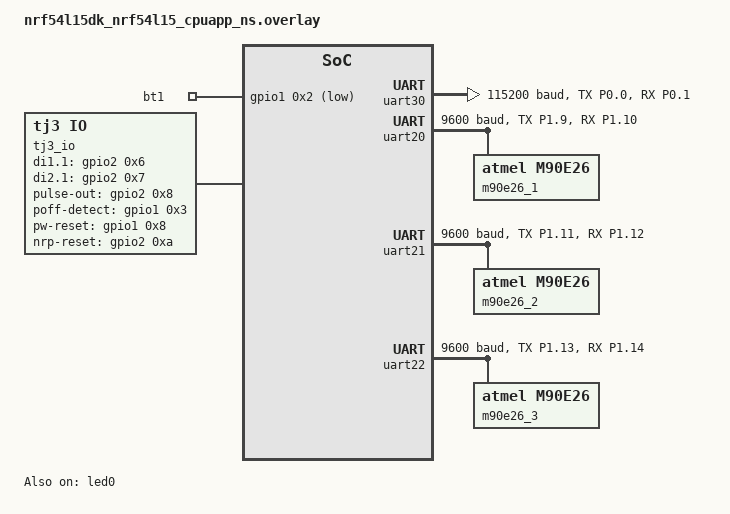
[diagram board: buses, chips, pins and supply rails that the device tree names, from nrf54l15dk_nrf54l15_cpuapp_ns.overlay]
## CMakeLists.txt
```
cmake_minimum_required(VERSION 3.20.0)
find_package(Zephyr REQUIRED HINTS $ENV{ZEPHYR_BASE})

project(TJ3FW)

add_subdirectory(drivers/sensor/atm90e26)

target_include_directories(app PRIVATE inc)
target_sources(app PRIVATE 
    src/main.c
    src/led.c
    src/ble_gatt.c
    src/protocol.c
    src/spi_flash.c
    src/fs_handler.c
    src/ext_comm.c
    src/di.c
    src/button.c
    src/settings.c
    src/measure.c
    src/pulse.c
    src/poff_detect.c)
```

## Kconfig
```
rsource "drivers/sensor/atm90e26/Kconfig"

source "Kconfig.zephyr"
```

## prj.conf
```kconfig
# 基礎串口與中斷支援
CONFIG_SERIAL=y
CONFIG_UART_INTERRUPT_DRIVEN=y

# GPIO 支援
CONFIG_GPIO=y

# Console 設定 (Disable Standard Consoles to use Custom Protocol Log)
CONFIG_CONSOLE=y
CONFIG_UART_CONSOLE=n
CONFIG_RTT_CONSOLE=n
CONFIG_USE_SEGGER_RTT=n
CONFIG_LOG_BACKEND_RTT=n
CONFIG_LOG_BACKEND_UART=n

# 強制啟用 Log Output 模組 (因為停用了標準 Backend 但需要用 log_output API)
CONFIG_LOG_OUTPUT=y

# 啟用日誌系統 (非同步模式)
CONFIG_LOG=y
CONFIG_LOG_MODE_DEFERRED=y
CONFIG_LOG_PROCESS_THREAD_STARTUP_DELAY_MS=2000
CONFIG_LOG_PRINTK=y
# 設為 DEBUG(4) 可輸出 atm90e26 RAW DATA
CONFIG_LOG_DEFAULT_LEVEL=3
CONFIG_LOG_RUNTIME_FILTERING=y

CONFIG_BOOT_BANNER=n
CONFIG_NCS_BOOT_BANNER=n

# 啟用 Async UART (DMA)
CONFIG_UART_ASYNC_API=y
CONFIG_NRFX_UARTE=y

# 啟用 SPI FLASH & LITTLEFS 支援
CONFIG_SPI=y
CONFIG_SPI_NOR=y
CONFIG_FLASH=y
CONFIG_FLASH_MAP=y
CONFIG_FILE_SYSTEM=y
CONFIG_FILE_SYSTEM_LITTLEFS=y

# 指定 LittleFS 放在外部 Flash (需要 pm.yml 中有定義對應的 region)
CONFIG_PM_PARTITION_REGION_LITTLEFS_EXTERNAL=y
# 配置 LittleFS partition size，需小於或等於 pm.yml 中定義的 region 大小 
CONFIG_PM_PARTITION_SIZE_LITTLEFS=0x00600000
CONFIG_FILE_SYSTEM_MKFS=y


# 啟用 BLE 支援
CONFIG_BT=y
CONFIG_BT_PERIPHERAL=y
CONFIG_BT_DEVICE_NAME="TJ3-GW"

# BLE 廣播與連接參數配置 (提升桌面端掃描相容性)
CONFIG_BT_DEVICE_APPEARANCE=0
CONFIG_BT_MAX_CONN=1
CONFIG_BT_MAX_PAIRED=1

# 啟用 GAP 服務 (桌面端掃描常需要)
CONFIG_BT_GAP_PERIPHERAL_PREF_PARAMS=y

# 啟用必要的 BLE 功能
CONFIG_BT_GATT_DYNAMIC_DB=y
# 提升 ATT MTU 以支援 >20 byte 的單次 Write Request
# meter_config_t = 24 bytes；預設 MTU payload 20 bytes 會觸發 Long Write，
# macOS CoreBluetooth Long Write 不穩定，提升 MTU 可直接繞開此問題
CONFIG_BT_L2CAP_TX_MTU=247
CONFIG_BT_BUF_ACL_TX_SIZE=251
CONFIG_BT_BUF_ACL_RX_SIZE=251
# Long Write 仍保留作為備用
CONFIG_BT_ATT_PREPARE_COUNT=4
# 禁用 SMP 以避免過於嚴格的安全設置阻礙掃描
CONFIG_BT_SMP=n
CONFIG_BT_SETTINGS=n

# 設定發射功率 (nRF54L15 支援範圍 -40 ~ +8 dBm)
CONFIG_BT_CTLR_TX_PWR_PLUS_4=y

# Controller 廣播配置
CONFIG_BT_CTLR_ADV_DATA_LEN_MAX=191
CONFIG_BT_CTLR_SCAN_DATA_LEN_MAX=191

CONFIG_SENSOR=y
CONFIG_ATM90E26=y
CONFIG_SYS_CLOCK_TICKS_PER_SEC=1000

# 記憶體配置
CONFIG_HEAP_MEM_POOL_SIZE=8192
CONFIG_MAIN_STACK_SIZE=8192
CONFIG_SYSTEM_WORKQUEUE_STACK_SIZE=4096
# 增加 idle stack 大小
CONFIG_IDLE_STACK_SIZE=2048
# 增加 ISR stack 大小
CONFIG_ISR_STACK_SIZE=2048

# 浮點數支援 (用於 snprintf %f 格式化)
CONFIG_CBPRINTF_FP_SUPPORT=y
# 啟用數學庫支援 (sinf, cosf 等函數) - 需要使用 newlib
CONFIG_NEWLIB_LIBC=y

# Debug 支援 (nRF Connect debugger 需要)
CONFIG_DEBUG_OPTIMIZATIONS=y
CONFIG_DEBUG_THREAD_INFO=y
CONFIG_NEWLIB_LIBC_FLOAT_PRINTF=y
```

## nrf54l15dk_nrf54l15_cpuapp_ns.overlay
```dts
// To get started, press Ctrl+Space (or Option+Esc) to bring up the completion menu and view the available nodes.

// You can also use the buttons in the sidebar to perform actions on nodes.
// Actions currently available include:

// * Enabling / disabling the node
// * Adding the bus to a bus
// * Removing the node
// * Connecting ADC channels

// For more help, browse the DeviceTree documentation at https: //docs.zephyrproject.org/latest/guides/dts/index.html
// You can also visit the nRF DeviceTree extension documentation at https: //docs.nordicsemi.com/bundle/nrf-connect-vscode/page/guides/ncs_configure_app.html#devicetree-support-in-the-extension

#include <zephyr/dt-bindings/gpio/gpio.h>
#include <zephyr/dt-bindings/pwm/pwm.h>

&led0 {
    status = "okay";
};

&led1 {
    status = "disabled";
};
&led2 {
    status = "disabled";
};
&led3 {
    status = "disabled";
};

&button0 {
    status = "disabled";
};

&button1 {
    status = "disabled";
};

&button2 {
    status = "disabled";
};

&button3 {
    status = "disabled";
};

&pwm20 {
    status = "disabled";
};

&spi00 {
    status = "disabled";
};

&pinctrl {
    // pwm20_default: pwm20_default {
        //     group1 {
            //         /* 將 PWM 通道 0 (PWM_OUT0) 映射到 P2.09 ( led0 )*/
            //         /* 格式：NRF_PSEL(訊號類型, 埠號, 引腳號) */
            //         psels = <NRF_PSEL(PWM_OUT0, 2, 0x9)>;
            //         nordic,drive-mode = <NRF_DRIVE_H0H1>;
        //     };
    // };
    // pwm20_sleep: pwm20_sleep {
        //     group1 {
            //         psels = <NRF_PSEL(PWM_OUT0, 2, 0x9)>;
            //         low-power-enable;
        //     };
    // };

    // /* UART_DEBUG(Console, VCOM0, UART0)): TX=P0.00, RX=P0.01 */

    // uart00_default: uart00_default {
        //     group1 {
            //         /* TX=P1.09 */
            //         psels = <NRF_PSEL(UART_TX, 1, 9)>;
        //     };

        //     group2 {
            //         /* RX=P1.10 */
            //         psels = <NRF_PSEL(UART_RX, 1, 10)>;
            //         bias-pull-up;
        //     };
    // };
    // uart00_sleep: uart00_sleep {
        //     group1 {
            //         psels = <NRF_PSEL(UART_TX, 1, 9)>,
                               //                 <NRF_PSEL(UART_RX, 1, 10)>;
            //         low-power-enable;
        //     };
    // };


    /* UART_NRP(nRF9151, VCOM1, UART1): TX=P1.05, RX=P1.04 */
    uart30_default: uart30_default {
        group1 {
            psels = <NRF_PSEL(UART_TX, 0, 0)>;
        };

        group2 {
            psels = <NRF_PSEL(UART_RX, 0, 1)>;
            bias-pull-up;
        };
    };
    uart30_sleep: uart30_sleep {
        group1 {
            psels = <NRF_PSEL(UART_TX, 0, 0)>,
                    <NRF_PSEL(UART_RX, 0, 1)>;
            low-power-enable;
        };
    };



    /* UART_AT1(ATM90#1): P1.09, P1.10 */
    uart20_default: uart20_default {
        group1 {
            psels = <NRF_PSEL(UART_TX, 1, 9)>;
        };

        group2 {
            psels = <NRF_PSEL(UART_RX, 1, 10)>;
            bias-pull-up;
        };
    };
    uart20_sleep: uart20_sleep {
        group1 {
            psels = <NRF_PSEL(UART_TX, 1, 9)>,
                    <NRF_PSEL(UART_RX, 1, 10)>;
            low-power-enable;
        };
    };

    /* UART_AT2(ATM90#2): P1.11, P1.12 */
    uart21_default: uart21_default {
        group1 {
            /* TX=P1.11 */
            psels = <NRF_PSEL(UART_TX, 1, 11)>;
        };

        group2 {
            /* RX=P1.12 */
            psels = <NRF_PSEL(UART_RX, 1, 12)>;
            bias-pull-up;
        };
    };
    uart21_sleep: uart21_sleep {
        group1 {
            psels = <NRF_PSEL(UART_TX, 1, 11)>,
                    <NRF_PSEL(UART_RX, 1, 12)>;
            low-power-enable;
        };
    };

    /* UART_AT3(ATM90#3): P1.13, P1.14 */
    uart22_default: uart22_default {
        group1 {
            /* TX=P1.13 */
            psels = <NRF_PSEL(UART_TX, 1, 13)>;
        };

        group2 {
            /* RX=P1.14 */
            psels = <NRF_PSEL(UART_RX, 1, 14)>;
            bias-pull-up;
        };
    };
    uart22_sleep: uart22_sleep {
        group1 {
            psels = <NRF_PSEL(UART_TX, 1, 13)>,
                    <NRF_PSEL(UART_RX, 1, 14)>;
            low-power-enable;
        };
    };

    /* SPI20
     * - SCK        = P2.01
     * - SIO0(MOSI) = P2.02
     * - SIO1(MISO) = P2.04
     * - SIO2       = P2.03
     * - SIO3       = P2.00
     * - CS         = P2.05
     */
    // spi20_default: spi20_default {
        //     group1 {
            //         psels = <NRF_PSEL(SPIM_SCK, 2, 1)>,
                               //                 <NRF_PSEL(SPIM_MOSI, 2, 2)>,
                               //                 <NRF_PSEL(SPIM_MISO, 2, 4)>;
        //     };
    // };
    // spi20_sleep: spi20_sleep {
        //     group1 {
            //         psels = <NRF_PSEL(SPIM_SCK, 2, 1)>,
                               //                 <NRF_PSEL(SPIM_MOSI, 2, 2)>,
                               //                 <NRF_PSEL(SPIM_MISO, 2, 4)>;
            //         low-power-enable;
        //     };
    // };
};

// &pwm20 {
    //     status = "okay";
    //     pinctrl-0 = <&pwm20_default>;
    //     pinctrl-1 = <&pwm20_sleep>;
    //     pinctrl-names = "default", "sleep";
// };

&uart00 {
    status = "disabled";
    // current-speed = <9600>;
    // pinctrl-0 = <&uart00_default>;
    // pinctrl-1 = <&uart00_sleep>;
    // pinctrl-names = "default", "sleep";

    // m90e26_1: m90e26_1 {
        //     compatible = "atmel,m90e26";
        //     status = "okay";
    // };
};

&uart30 {
    status = "okay";
    current-speed = <115200>;
    pinctrl-0 = <&uart30_default>;
    pinctrl-1 = <&uart30_sleep>;
    pinctrl-names = "default", "sleep";
};
&uart20 {
    status = "okay";
    current-speed = <9600>;
    pinctrl-0 = <&uart20_default>;
    pinctrl-1 = <&uart20_sleep>;
    pinctrl-names = "default", "sleep";

    m90e26_1: m90e26_1 {
        compatible = "atmel,m90e26";
        status = "okay";
    };
};

&uart21 {
    status = "okay";
    current-speed = <9600>;
    pinctrl-0 = <&uart21_default>;
    pinctrl-1 = <&uart21_sleep>;
    pinctrl-names = "default", "sleep";

    m90e26_2: m90e26_2 {
        compatible = "atmel,m90e26";
        status = "okay";
    };
};

&uart22 {
    status = "okay";
    current-speed = <9600>;
    pinctrl-0 = <&uart22_default>;
    pinctrl-1 = <&uart22_sleep>;
    pinctrl-names = "default", "sleep";

    m90e26_3: m90e26_3 {
        compatible = "atmel,m90e26";
        status = "okay";
    };
};

/{
    buttons {
        compatible = "gpio-keys";
        #address-cells = <1>;
        #size-cells = <0>;

        bt1: bt1 {
            status = "okay";
            gpios = <&gpio1 0x2 (GPIO_PULL_UP | GPIO_ACTIVE_LOW)>;
        };
    };

    // /* PWM 輸出到 pwm20 的 P2.09 */
    // pwmleds {
        //     compatible = "pwm-leds";

        //     pwm_led1: pwm_led_1 {
            //         status = "okay";
            //         /* 使用 pwm20 的通道 0，週期 20ms */
            //         pwms = <&pwm20 0x0 0x01312d00 GPIO_ACTIVE_LOW>;
        //     };
    // };

    tj3_io: tj3_io {
        compatible = "tj3,io";

        di1.1-gpios = <&gpio2 0x6 (GPIO_PULL_UP | GPIO_ACTIVE_HIGH)>;
        di2.1-gpios = <&gpio2 0x7 (GPIO_PULL_UP | GPIO_ACTIVE_HIGH)>;

        pulse-out-gpios = <&gpio2 0x8 (GPIO_ACTIVE_HIGH)>;
        poff-detect-gpios = <&gpio1 0x3 (GPIO_PULL_UP|GPIO_ACTIVE_HIGH)>;
        pw-reset-gpios = <&gpio1 0x8 (GPIO_ACTIVE_HIGH)>;
        nrp-reset-gpios = <&gpio2 0xa (GPIO_ACTIVE_HIGH)>;
    };

    chosen {
        zephyr,console = &uart30;
        zephyr,shell-uart = &uart30;
        zephyr,uart-mcumgr = &uart30;
        // nordic,pm-ext-flash = &ext_flash0;
    };

    aliases {
        uart-nrp   = &uart30; /* NRP log */

        uart-at1 = &uart20; /* ATM90_1 */
        uart-at2 = &uart21; /* ATM90_2 */
        uart-at3 = &uart22; /* ATM90_3 */

        atm90e26-1 = &m90e26_1;
        atm90e26-2 = &m90e26_2;
        atm90e26-3 = &m90e26_3;

        // spi-flash = &spi20;
    };
};
```

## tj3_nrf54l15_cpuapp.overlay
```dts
/ {
    /* 定義虛擬的 RTT 節點 */
    rtt0: rtt0 {
        compatible = "segger,rtt-uart";
    };

    chosen {
        /* 將所有關鍵輸出導向 RTT */
        zephyr,console = &rtt0;
        zephyr,shell-uart = &rtt0;
        zephyr,uart-mcumgr = &rtt0;
        zephyr,bt-mon-uart = &rtt0;
        zephyr,bt-c2h-uart = &rtt0;

        /* 告訴 pm 用 &mx25r64 做外部 flash */
        nordic,pm-ext-flash = &mx25r64;
    };

    /* ATM90E26 Sensors */
    atm1: atm90e26_1 {
        compatible = "atmel,atm90e26";
        uart = <&uart20>;
        status = "okay";
    };

    atm2: atm90e26_2 {
        compatible = "atmel,atm90e26";
        uart = <&uart21>;
        status = "okay";
    };

    atm3: atm90e26_3 {
        compatible = "atmel,atm90e26";
        uart = <&uart22>;
        status = "okay";
    };
};
```

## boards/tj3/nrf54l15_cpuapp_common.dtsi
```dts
/*
 * Copyright (c) 2024 Nordic Semiconductor ASA
 *
 * SPDX-License-Identifier: Apache-2.0
 */

/* This file is common to the secure and non-secure domain */

#include "tj3_common.dtsi"

/ {
	chosen {
		zephyr,console = &uart30;
		zephyr,shell-uart = &uart30;
		zephyr,uart-mcumgr = &uart30;
		zephyr,bt-mon-uart = &uart30;
		zephyr,bt-c2h-uart = &uart30;
		zephyr,flash-controller = &rram_controller;
		zephyr,flash = &cpuapp_rram;
		zephyr,ieee802154 = &ieee802154;
		zephyr,boot-mode = &boot_mode0;
	};
};

&cpuapp_sram {
	status = "okay";
};

&lfxo {
	load-capacitors = "external";
};

&hfxo {
	load-capacitors = "internal";
	load-capacitance-femtofarad = <15000>;
};

&regulators {
	status = "okay";
};

&vregmain {
	status = "okay";
	regulator-initial-mode = <NRF5X_REG_MODE_DCDC>;
};

&grtc {
	owned-channels = <0 1 2 3 4 5 6 7 8 9 10 11>;
	/* Channels 7-11 reserved for Zero Latency IRQs, 3-4 for FLPR */
	child-owned-channels = <3 4 7 8 9 10 11>;
	status = "okay";
};

&gpio0 {
	status = "okay";
};

&gpio1 {
	status = "okay";
};

&gpio2 {
	status = "okay";
};

&gpiote20 {
	status = "okay";
};

&gpiote30 {
	status = "okay";
};

&radio {
	status = "okay";
};

&ieee802154 {
	status = "okay";
};

&temp {
	status = "okay";
};

&clock {
	status = "okay";
};

&gpregret1 {
	status = "okay";

	boot_mode0: boot_mode@0 {
		compatible = "zephyr,retention";
		status = "okay";
		reg = <0x0 0x1>;
	};
};

&uicr {
	nfct-pins-as-gpios;
};
```

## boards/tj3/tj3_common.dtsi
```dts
/*
 * Copyright (c) 2024 Nordic Semiconductor ASA
 * SPDX-License-Identifier: Apache-2.0
 */

#include "tj3_nrf54l15-pinctrl.dtsi"


&uart20 {
	status = "okay";
	pinctrl-0 = <&uart20_default>;
	pinctrl-1 = <&uart20_sleep>;
	pinctrl-names = "default", "sleep";
	current-speed = <9600>;
};

&uart21 {
	status = "okay";
	pinctrl-0 = <&uart21_default>;
	pinctrl-1 = <&uart21_sleep>;
	pinctrl-names = "default", "sleep";
	current-speed = <9600>;
};

&uart22 {
	status = "okay";
	pinctrl-0 = <&uart22_default>;
	pinctrl-1 = <&uart22_sleep>;
	pinctrl-names = "default", "sleep";
	current-speed = <9600>;
};

&uart30 {
	status = "okay";
	pinctrl-0 = <&uart30_default>;
	pinctrl-1 = <&uart30_sleep>;
	pinctrl-names = "default", "sleep";
	current-speed = <115200>;
};

/ {
	gpio_input {
		compatible = "gpio-keys";
		di1: di1 {
			gpios = <&gpio2 6 GPIO_ACTIVE_HIGH>;
		};
		di2: di2 {
			gpios = <&gpio2 7 GPIO_ACTIVE_HIGH>;
		};
		pulse_out: pulse_out {
			gpios = <&gpio2 8 GPIO_ACTIVE_HIGH>;
		};
		poff_detect: poff_detect {
			gpios = <&gpio1 3 GPIO_ACTIVE_HIGH>;
		};
		btn: btn {
			gpios = <&gpio1 2 GPIO_ACTIVE_LOW>;
		};
	};

	gpio_output {
		compatible = "gpio-leds";
		pw_reset: pw_reset {
			gpios = <&gpio1 8 GPIO_ACTIVE_HIGH>;
		};
		nrp_reset: nrp_reset {
			gpios = <&gpio2 10 GPIO_ACTIVE_HIGH>;
		};
		led_ind: led_ind {
			gpios = <&gpio2 9 GPIO_ACTIVE_HIGH>;
		};
	};
};
```

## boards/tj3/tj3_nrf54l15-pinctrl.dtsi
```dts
/*
 * Copyright (c) 2024 Nordic Semiconductor ASA
 * SPDX-License-Identifier: Apache-2.0
 */

&pinctrl {


	/omit-if-no-ref/ spi00_default: spi00_default {
		group1 {
			psels = <NRF_PSEL(SPIM_SCK, 2, 1)>,
			        <NRF_PSEL(SPIM_MOSI, 2, 2)>,
			        <NRF_PSEL(SPIM_MISO, 2, 4)>;
		};
	};

	/omit-if-no-ref/ spi00_sleep: spi00_sleep {
		group1 {
			psels = <NRF_PSEL(SPIM_SCK, 2, 1)>,
			        <NRF_PSEL(SPIM_MOSI, 2, 2)>,
			        <NRF_PSEL(SPIM_MISO, 2, 4)>;
			low-power-enable;
		};
	};

	/omit-if-no-ref/ uart20_default: uart20_default {
		group1 {
			psels = <NRF_PSEL(UART_TX, 1, 9)>;
		};

		group2 {
			psels = <NRF_PSEL(UART_RX, 1, 10)>;
			bias-pull-up;
		};
	};

	/omit-if-no-ref/ uart20_sleep: uart20_sleep {
		group1 {
			psels = <NRF_PSEL(UART_TX, 1, 9)>,
					<NRF_PSEL(UART_RX, 1, 10)>;
			low-power-enable;
		};
	};

	/omit-if-no-ref/ uart21_default: uart21_default {
		group1 {
			psels = <NRF_PSEL(UART_TX, 1, 11)>;
		};

		group2 {
			psels = <NRF_PSEL(UART_RX, 1, 12)>;
			bias-pull-up;
		};
	};

	/omit-if-no-ref/ uart21_sleep: uart21_sleep {
		group1 {
			psels = <NRF_PSEL(UART_TX, 1, 11)>,
					<NRF_PSEL(UART_RX, 1, 12)>;
			low-power-enable;
		};
	};

	/omit-if-no-ref/ uart22_default: uart22_default {
		group1 {
			psels = <NRF_PSEL(UART_TX, 1, 13)>;
		};

		group2 {
			psels = <NRF_PSEL(UART_RX, 1, 14)>;
			bias-pull-up;
		};
	};

	/omit-if-no-ref/ uart22_sleep: uart22_sleep {
		group1 {
			psels = <NRF_PSEL(UART_TX, 1, 13)>,
					<NRF_PSEL(UART_RX, 1, 14)>;
			low-power-enable;
		};
	};

	/omit-if-no-ref/ uart30_default: uart30_default {
		group1 {
			psels = <NRF_PSEL(UART_TX, 0, 0)>;
		};

		group2 {
			psels = <NRF_PSEL(UART_RX, 0, 1)>;
			bias-pull-up;
		};
	};

	/omit-if-no-ref/ uart30_sleep: uart30_sleep {
		group1 {
			psels = <NRF_PSEL(UART_TX, 0, 0)>,
					<NRF_PSEL(UART_RX, 0, 1)>;
			low-power-enable;
		};
	};
};
```

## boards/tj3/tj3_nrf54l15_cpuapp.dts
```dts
/dts-v1/;

#include <nordic/nrf54l15_cpuapp.dtsi>
#include "nrf54l15_cpuapp_common.dtsi"

/ {
	compatible = "custom,tj3-nrf54l15-cpuapp";
	model = "nRF54L15 TJ3 Application MCU";

	chosen {
		zephyr,code-partition = &slot0_partition;
		zephyr,sram = &cpuapp_sram;
	};
};

/* Include default memory partition configuration file */
#include <nordic/nrf54l15_partition.dtsi>

&spi00 {
	status = "okay";
	cs-gpios = <&gpio2 5 GPIO_ACTIVE_LOW>;
	pinctrl-0 = <&spi00_default>;
	pinctrl-1 = <&spi00_sleep>;
	pinctrl-names = "default", "sleep";

	mx25r64: mx25r6435f@0 {
		compatible = "jedec,spi-nor";
		status = "okay";
		reg = <0>;
		spi-max-frequency = <8000000>;
		jedec-id = [ c2 28 17  ];
		sfdp-bfp = [ e5 20 f1 ff ff ff ff 03 44 eb 08 6b 08 3b 04 bb ee ff ff ff ff ff 00 ff ff ff 00 ff 0c 20 0f 52 10 d8 00 ff 23 72 f5 00 82 ed 04 cc 44 83 48 44 30 b0 30 b0 f7 c4 d5 5c 00 be 29 ff f0 d0 ff ff  ];
		size = <67108864>;
		has-dpd;
		t-enter-dpd = <10000>;
		t-exit-dpd = <35000>;
		reset-gpios = <&gpio2 0 GPIO_ACTIVE_LOW>;
	};
};
```

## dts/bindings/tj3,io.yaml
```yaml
# TJ3 board/application IO aggregator

description: |
  TJ3 IO pin definitions (GPIOs) used by the application.

compatible: "tj3,io"

properties:
  di1.1-gpios:
    type: phandle-array
    description: DI1.1 input GPIO
  di2.1-gpios:
    type: phandle-array
    description: DI2.1 input GPIO

  pulse-out-gpios:
    type: phandle-array
    description: Pulse output GPIO

  poff-detect-gpios:
    type: phandle-array
    description: Power-off detect GPIO

  pw-reset-gpios:
    type: phandle-array
    description: Power module reset GPIO

  nrp-reset-gpios:
    type: phandle-array
    description: NRP reset GPIO
```

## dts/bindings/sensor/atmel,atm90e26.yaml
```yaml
description: Atmel ATM90E26 Energy Metering IC

compatible: "atmel,atm90e26"

include: sensor-device.yaml

properties:
  uart:
    type: phandle
    required: true
    description: UART device used to communicate with the sensor
```

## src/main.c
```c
#include <zephyr/kernel.h>
#include <zephyr/drivers/sensor.h>
#include <zephyr/logging/log.h>
#include "led.h"
#include "ble_gatt.h"
#include "spi_flash.h"
#include "fs_handler.h"
#include "ext_comm.h"
#include "atm90e26.h"
#include "di.h"
#include "button.h" /* 加入按鈕模組 */
#include "settings.h"
#include "measure.h"
#include "pulse.h"
#include "poff_detect.h"

LOG_MODULE_REGISTER(main, LOG_LEVEL_INF);

#if 0 // 保留舊的單獨讀取方式作為參考
static void read_atm90e26(const struct device *dev, const char *name)
{
        struct sensor_value volt, curr, pwr, pwr_react, pwr_app, pf, freq, energy;

        if (!device_is_ready(dev))
        {
                LOG_ERR("Device %s is not ready", name);
                return;
        }

        if (sensor_sample_fetch(dev) < 0)
        {
                LOG_ERR("Failed to fetch sample from %s", name);
                return;
        }

        sensor_channel_get(dev, SENSOR_CHAN_VOLTAGE, &volt);
        sensor_channel_get(dev, SENSOR_CHAN_CURRENT, &curr);
        sensor_channel_get(dev, SENSOR_CHAN_POWER, &pwr);
        sensor_channel_get(dev, SENSOR_CHAN_ATM90E26_REACTIVE_POWER, &pwr_react);
        sensor_channel_get(dev, SENSOR_CHAN_ATM90E26_APPARENT_POWER, &pwr_app);
        sensor_channel_get(dev, SENSOR_CHAN_ATM90E26_POWER_FACTOR, &pf);
        sensor_channel_get(dev, SENSOR_CHAN_FREQUENCY, &freq);
        sensor_channel_get(dev, SENSOR_CHAN_ATM90E26_ENERGY, &energy);

        LOG_INF("[%s] V:%d.%02dV I:%d.%03dA P:%dW Q:%dVAr S:%dVA PF:%d.%03d Freq:%d.%02dHz E:%dWh",
                name,
                volt.val1, volt.val2 / 10000,
                curr.val1, curr.val2 / 1000,
                pwr.val1,
                pwr_react.val1,
                pwr_app.val1,
                pf.val1, pf.val2 / 1000,
                freq.val1, freq.val2 / 10000,
                energy.val1);
}
#endif

int main(void)
{
        int count = 0;
        int ret;

        led_init();
        ext_comm_init();

        /* 初始化 SPI Flash，並等待就緒 */
        ret = spi_flash_init();
        if (ret < 0)
        {
                LOG_ERR("SPI Flash init failed, continuing without flash storage");
        }
        k_sleep(K_MSEC(100)); /* 給 flash 時間穩定 */

        /* 初始化檔案系統 */
        ret = fs_handler_init();
        if (ret < 0)
        {
                LOG_ERR("Filesystem init failed: %d", ret);
        }

        /* 測試檔案系統（可選） */
        if (ret == 0)
        {
                fs_handler_test();
        }

        ble_gatt_init();
        di_init();

        /* 初始化設定按鈕 (安全機制) */
        ret = button_init();
        if (ret < 0)
        {
                LOG_ERR("Button init failed: %d", ret);
        }

        /* 初始化設定值、測電模組、脈衝監測模組、停電檢測 */
        settings_init();
        measure_init();
        pulse_init();
        poff_detect_init();

        while (1)
        {
                led_toggle();

                if (count % 5 == 0)
                {
                        /* 新的測電計算週期 */
                        measure_perform_cycle();

                        /* 發送 LOG 輸出 (假設為單相，使用脈衝計數) */
                        uint32_t pulse_count = pulse_get_count();
                        measure_send_log_output(PHASE_SINGLE, pulse_count);

                        /* 記錄電量資訊 */
                        LOG_INF("Pulse: count=%u, kWh=%.4f, Power=%.3f kW",
                                pulse_count,
                                (double)pulse_get_kwh(),
                                (double)pulse_get_current_power());
                }
                count++;

                k_sleep(K_SECONDS(1));
        }
        return 0;
}
```

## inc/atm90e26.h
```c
#ifndef ATM90E26_H
#define ATM90E26_H

#include <zephyr/device.h>

#ifdef __cplusplus
extern "C"
{
#endif

/* Status and Special Registers */
#define ATM90E26_REG_SOFTRESET 0x00
#define ATM90E26_REG_SYSSTATUS 0x01
#define ATM90E26_REG_FUNCEN 0x02
#define ATM90E26_REG_SAGTH 0x03
#define ATM90E26_REG_SMALLPMOD 0x04
#define ATM90E26_REG_LASTDATA 0x06
#define ATM90E26_REG_LSB 0x08

/* Metering Calibration & Configuration Registers */
#define ATM90E26_REG_CALSTART 0x20
#define ATM90E26_REG_PLCONSTH 0x21
#define ATM90E26_REG_PLCONSTL 0x22
#define ATM90E26_REG_LGAIN 0x23
#define ATM90E26_REG_LPHI 0x24
#define ATM90E26_REG_NGAIN 0x25
#define ATM90E26_REG_NPHI 0x26
#define ATM90E26_REG_PSTARTTH 0x27
#define ATM90E26_REG_PNOLTH 0x28
#define ATM90E26_REG_QSTARTTH 0x29
#define ATM90E26_REG_QNOLTH 0x2A
#define ATM90E26_REG_MMODE 0x2B
#define ATM90E26_REG_CS1 0x2C

/* Measurement Calibration Registers */
#define ATM90E26_REG_ADJSTART 0x30
#define ATM90E26_REG_UGAIN 0x31
#define ATM90E26_REG_IGAINL 0x32
#define ATM90E26_REG_IGAINN 0x33
#define ATM90E26_REG_UOFFSET 0x34
#define ATM90E26_REG_IOFFSETL 0x35
#define ATM90E26_REG_IOFFSETN 0x36
#define ATM90E26_REG_POFFSETL 0x37
#define ATM90E26_REG_QOFFSETL 0x38
#define ATM90E26_REG_POFFSETN 0x39
#define ATM90E26_REG_QOFFSETN 0x3A
#define ATM90E26_REG_CS2 0x3B

/* Energy & Measurement Registers */
#define ATM90E26_REG_APENERGY 0x40
#define ATM90E26_REG_ANENERGY 0x41
#define ATM90E26_REG_ATENERGY 0x42
#define ATM90E26_REG_RPENERGY 0x43
#define ATM90E26_REG_RNENERGY 0x44
#define ATM90E26_REG_RTENERGY 0x45
#define ATM90E26_REG_ENSTATUS 0x46
#define ATM90E26_REG_IRMS 0x48
#define ATM90E26_REG_URMS 0x49
#define ATM90E26_REG_PMEAN 0x4A
#define ATM90E26_REG_QMEAN 0x4B
#define ATM90E26_REG_FREQ 0x4C
#define ATM90E26_REG_POWERF 0x4D
#define ATM90E26_REG_PANGLE 0x4E
#define ATM90E26_REG_SMEAN 0x4F
#define ATM90E26_REG_IRMS2 0x68
#define ATM90E26_REG_PMEAN2 0x6A
#define ATM90E26_REG_QMEAN2 0x6B
#define ATM90E26_REG_POWERF2 0x6C
#define ATM90E26_REG_PANGLE2 0x6D
#define ATM90E26_REG_SMEAN2 0x6E

/* Constants */
#define ATM90E26_SOFT_RESET_CMD 0x789A
#define ATM90E26_CAL_START_CMD 0x5678
#define ATM90E26_CAL_CHECK_CMD 0x8765
#define ATM90E26_ADJ_START_CMD 0x5678
#define ATM90E26_ADJ_CHECK_CMD 0x8765

    /**
     * @brief Configuration structure for system calibration (Registgers 0x21 - 0x2B)
     *        1. 電表脈衝常數 (Energy Pulse Constant)
     *           pl_const_h (0x21), pl_const_l (0x22):
     *           決定了電能计量與脈衝輸出 (CF) 之間的關係。
     *           也就是設定 imp/kWh (每度電對應多少脈衝)。這個值需要根據您的分流器/互感器參數及目標脈衝常數計算得出。
     *        2. 線路校正參數 (Line Calibration)
     *           用於補償外部電路（如分流器、變壓器）的誤差：
     *           l_gain (0x23), n_gain (0x25): L線/N線 增益校正。用於微調測量到的電壓/電流幅度，確保數值準確。
     *           l_phi (0x24), n_phi (0x26): L線/N線 相位校正。用於補償電壓與電流採樣之間的相位延遲（通常由互感器引起），這對功率因數 (PF) 非 1.0 的負載測量非常重要。
     *        3. 測量閥值 (Measurement Thresholds)
     *           設定電表開始計量或忽略雜訊的界線：
     *           p_start_th (0x27), q_start_th (0x29): 有功/無功 啟動閥值。
     *           當測得的功率低於此值時，晶片不進行電能累積。這就是俗稱的「啟動電流」，確保極微小的待機負載是否計入。
     *           p_nol_th (0x28), q_nol_th (0x2A): 有功/無功 防潛動 (No-Load) 閥值。
     *           當僅有電壓而無電流（空載）時，若測得的微小功率低於此值，則強制歸零，防止電表在無負載時「偷跑」計數。
     *        4. 計量模式 (Metering Mode)
     *           m_mode (0x2B): 計量模式配置。
     *           這是最重要的控制暫存器之一。
     *           設定 頻率 (50Hz/60Hz)。
     *           設定 PGA 增益 (電流通道放大倍率)。
     *           設定 計量方式 (如：絕對值累加、僅正向累加、代數和等)。
     */
    typedef struct
    {
        uint16_t pl_const_h; /* 0x21 PLconstH*/
        uint16_t pl_const_l; /* 0x22 PLconstL */
        uint16_t l_gain;     /* 0x23 Lgain */
        uint16_t l_phi;      /* 0x24 Lphi */
        uint16_t n_gain;     /* 0x25 Ngain */
        uint16_t n_phi;      /* 0x26 Nphi */
        uint16_t p_start_th; /* 0x27 PStartTh */
        uint16_t p_nol_th;   /* 0x28 PNolTh */
        uint16_t q_start_th; /* 0x29 QStartTh */
        uint16_t q_nol_th;   /* 0x2A QNolTh */
        uint16_t m_mode;     /* 0x2B MMode */
    } atm90e26_sys_config_t;

    /**
     * @brief Initialize the ATM90E26 device
     *
     * This function performs the software reset and initializes the system calibration registers.
     *
     * @param dev Pointer to the UART device structure
     * @return 0 on success, negative error code on failure
     */
    int atm90e26_init(const struct device *dev);

    /**
     * @brief Calculate CS1 checksum
     *
     * @param config Pointer to the configuration structure
     * @return Calculated CS1 value
     */
    uint16_t atm90e26_calculate_cs1(const atm90e26_sys_config_t *config);

    int atm90e26_uart_read_reg(const struct device *dev, uint8_t addr, uint16_t *val);
    int atm90e26_uart_write_reg(const struct device *dev, uint8_t addr, uint16_t val);

#ifdef __cplusplus
}
#endif

#endif /* ATM90E26_H */
```

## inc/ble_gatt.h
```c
#ifndef BLE_GATT_H
#define BLE_GATT_H

#include <stdbool.h>
#include <stdint.h>

void ble_gatt_init(void);

/**
 * @brief Push a log string over BLE Log Stream characteristic (8c15, NOTIFY).
 * Safe to call from any context; no-op when not connected or notify disabled.
 */
void ble_gatt_log_stream_send(const uint8_t *data, uint16_t len);

/**
 * @brief 更新 Alarm Status 特徵值中的指定位元
 * @param bit_position 位元位置 (0-31)
 * @param value 位元值 (true=1, false=0)
 */
void ble_gatt_update_alarm_status(uint8_t bit_position, bool value);

#endif
```

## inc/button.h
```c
/**
 * @file button.h
 * @brief 設定模式按鈕 (S Button) 控制模組
 *
 * 實現 "S" 按鈕長按 3 秒的設定模式解鎖功能
 * 按鈕功能：
 * - 長按 3 秒：進入設定模式 (允許 BLE 修改設定)
 * - 自動超時：30 秒後自動退出設定模式
 */

#ifndef BUTTON_H_
#define BUTTON_H_

#include <zephyr/kernel.h>
#include <stdbool.h>

/**
 * @brief 初始化按鈕模組
 *
 * 配置 GPIO 和定時器
 *
 * @return 0 成功，負值為錯誤碼
 */
int button_init(void);

/**
 * @brief 檢查是否處於設定模式
 *
 * @return true 處於設定模式 (允許修改設定)
 * @return false 未處於設定模式 (拒絕修改設定)
 */
bool button_is_set_mode_enabled(void);

/**
 * @brief 手動進入設定模式 (用於測試)
 *
 * @param duration_sec 持續時間 (秒)，0 表示立即退出
 */
void button_enter_set_mode(uint16_t duration_sec);

/**
 * @brief 手動退出設定模式
 */
void button_exit_set_mode(void);

#endif /* BUTTON_H_ */
```

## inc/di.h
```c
/**
 * @file di.h
 * @brief Digital Input (DI1/DI2) Monitoring Header
 *
 * 根據開發式樣書實現接點輸入 (DI1/DI2) 的監測功能
 * - DI1: P2.06
 * - DI2: P2.07
 *
 * 功能包含：
 * 1. 接點狀態監測與判定時間延時
 * 2. MQTT 雲端通報 (AD 識別碼)
 * 3. Flash 數據記錄
 * 4. BLE 狀態更新
 */

#ifndef DI_H_
#define DI_H_

#include <zephyr/kernel.h>
#include <stdbool.h>
#include <stdint.h>

/**
 * @brief DI 通道編號
 */
typedef enum
{
    DI_CHANNEL_1 = 1, /**< DI1 通道 (P2.06) */
    DI_CHANNEL_2 = 2  /**< DI2 通道 (P2.07) */
} di_channel_t;

/**
 * @brief DI 狀態
 */
typedef enum
{
    DI_STATE_NORMAL = 0, /**< 正常狀態 (Low) */
    DI_STATE_ALERT = 1   /**< 警報狀態 (High) */
} di_state_t;

/**
 * @brief DI 配置參數
 */
typedef struct
{
    uint16_t on_time;  /**< 接點警報判定時間 (1-999秒) */
    uint16_t off_time; /**< 接點復歸判定時間 (1-999秒) */
} di_config_t;

/**
 * @brief 初始化 DI 監測模組
 *
 * 初始化 GPIO、工作隊列、定時器等
 *
 * @return 0 成功，負值為錯誤碼
 */
int di_init(void);

/**
 * @brief 獲取指定 DI 通道的當前狀態
 *
 * @param channel DI 通道編號
 * @return 當前狀態 (DI_STATE_NORMAL 或 DI_STATE_ALERT)
 */
di_state_t di_get_state(di_channel_t channel);

/**
 * @brief 設定指定 DI 通道的判定時間
 *
 * 透過 BLE GATT (OP Code 0xB5) 設定判定時間
 *
 * @param channel DI 通道編號
 * @param on_time 接點警報判定時間 (1-999秒)
 * @param off_time 接點復歸判定時間 (1-999秒)
 * @return 0 成功，負值為錯誤碼
 */
int di_set_config(di_channel_t channel, uint16_t on_time, uint16_t off_time);

/**
 * @brief 獲取指定 DI 通道的配置
 *
 * @param channel DI 通道編號
 * @param config 輸出配置參數
 * @return 0 成功，負值為錯誤碼
 */
int di_get_config(di_channel_t channel, di_config_t *config);

/**
 * @brief 將 DI 狀態保存到 Flash
 *
 * 在停電時被調用，優先保存 DI1 和 DI2 的當前狀態
 *
 * @return 0 成功，負值為錯誤碼
 */
int di_save_state_to_flash(void);

/**
 * @brief 從 Flash 載入 DI 狀態
 *
 * 在復電後被調用，恢復 DI1 和 DI2 的狀態
 *
 * @return 0 成功，負值為錯誤碼
 */
int di_load_state_from_flash(void);

#endif /* DI_H_ */
```

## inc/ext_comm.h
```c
#ifndef EXT_COMM_H
#define EXT_COMM_H

#ifdef __cplusplus
extern "C"
{
#endif

#include <stdbool.h>

    /**
     * @brief Initialize External Communication (Protocol over UART30).
     * @return 0 on success.
     */
    int ext_comm_init(void);

    /**
     * @brief Send formatted log message via UART30 protocol
     * @param log_msg 格式化的 LOG 訊息字串
     * @return 0 on success, negative on error
     */
    int ext_comm_send_log(const char *log_msg);

#ifdef __cplusplus
}
#endif

#endif
```

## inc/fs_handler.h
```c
#ifndef FS_HANDLER_H
#define FS_HANDLER_H

#include <zephyr/kernel.h>

/**
 * @brief Initialize the LittleFS File System
 * @return 0 on success, negative errno on failure
 */
int fs_handler_init(void);

/**
 * @brief Test File System (Create, Write, Read, Delete)
 * @return 0 on success
 */
int fs_handler_test(void);

/**
 * @brief Fast format (Quick format using fs_mkfs)
 * @return 0 on success
 */
int fs_handler_fast_format(void);

/**
 * @brief Low-level format (Erase & Remount)
 * @return 0 on success
 */
int fs_handler_low_level_format(void);

/**
 * @brief Append a line to a CSV file
 *
 * @param filename File name (e.g., "/lfs/log.csv")
 * @param line String content to append (should be null-terminated, function adds newline if needed)
 * @return 0 on success
 */
int fs_handler_append_log(const char *filename, const char *line);

/**
 * @brief List files in the root directory
 */
void fs_handler_ls(void);

#endif
```

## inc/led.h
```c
#ifndef LED_H
#define LED_H

#ifdef __cplusplus
extern "C"
{
#endif

#include <stdbool.h>

    /* LED 模式定義 */
    typedef enum
    {
        LED_PATTERN_NORMAL = 0,     /* 正常模式：1Hz 閃爍 */
        LED_PATTERN_FAST_BLINK = 1, /* 快速閃爍：5Hz (設定模式) */
        LED_PATTERN_SLOW_BLINK = 2, /* 慢速閃爍：0.5Hz */
        LED_PATTERN_ON = 3,         /* 常亮 */
        LED_PATTERN_OFF = 4         /* 常滅 */
    } led_pattern_t;

    void led_init(void);
    void led_on(void);
    void led_off(void);
    void led_toggle(void);
    void led_get_state(bool *is_on);

    /* 設定 LED 模式 */
    void led_set_pattern(led_pattern_t pattern);

#ifdef __cplusplus
}
#endif

#endif /* LED_H */
```

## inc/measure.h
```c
/**
 * @file measure.h
 * @brief TJ3 測電計算模組
 *
 * 實現 CH1-7 通道的電流、電壓、漏電等參數的計算
 * - 通道映射 (ATM1/2/3 → CH1-7)
 * - 增益補正計算
 * - 三相向量合成
 * - Ior 抵抗分漏電計算
 */

#ifndef MEASURE_H_
#define MEASURE_H_

#include <stdint.h>
#include <stdbool.h>
#include "settings.h"

/* 通道編號定義 */
typedef enum
{
    CH1 = 0, /**< 通道 1 (ATM1 L-line) */
    CH2 = 1, /**< 通道 2 (ATM1 N-line) */
    CH3 = 2, /**< 通道 3 (ATM2 L-line) */
    CH4 = 3, /**< 通道 4 (ATM2 N-line) */
    CH5 = 4, /**< 通道 5 (ATM3 L-line) */
    CH6 = 5, /**< 通道 6 (ATM3 N-line) */
    CH7 = 6  /**< 通道 7 (Ig 地絡電流) */
} channel_t;

#define MAX_CHANNELS 7

/* 通道測量數據 */
typedef struct
{
    /* 原始數據 (從 ATM90E26 讀取) */
    uint16_t raw_voltage;     /**< 原始電壓值 */
    uint16_t raw_current;     /**< 原始電流值 */
    uint16_t raw_power;       /**< 原始功率值 */
    uint16_t raw_phase_angle; /**< 原始相位角 */

    /* 校正後數據 */
    float voltage;     /**< 實際電壓 (V) */
    float current;     /**< 實際電流 (A) */
    float power;       /**< 實際功率 (W) */
    float phase_angle; /**< 相位角 (度) */

    /* 漏電相關 */
    float io;  /**< Io 零相電流 (mA) */
    float ior; /**< Ior 抵抗分漏電 (mA) */

    /* 狀態 */
    bool is_valid;        /**< 數據是否有效 */
    uint32_t last_update; /**< 最後更新時間 (ms) */
} channel_data_t;

/* 三相合成數據 */
typedef struct
{
    float current_r;     /**< R 相電流 (A) */
    float current_s;     /**< S 相電流 (A, 合成) */
    float current_t;     /**< T 相電流 (A) */
    float angle_r;       /**< R 相角度 (度) */
    float angle_t;       /**< T 相角度 (度) */
    float total_current; /**< 三相總電流 (A) */
} three_phase_data_t;

/**
 * @brief 初始化測電模組
 *
 * @return 0 成功，負值為錯誤碼
 */
int measure_init(void);

/**
 * @brief 讀取所有通道的原始數據
 *
 * 從 3 個 ATM90E26 讀取原始數據並映射到 CH1-7
 *
 * @return 0 成功，負值為錯誤碼
 */
int measure_read_raw_data(void);

/**
 * @brief 計算指定通道的實際值
 *
 * 執行增益補正、單位轉換等計算
 *
 * @param ch 通道編號
 * @return 0 成功，負值為錯誤碼
 */
int measure_calculate_channel(channel_t ch);

/**
 * @brief 計算所有通道
 *
 * @return 0 成功，負值為錯誤碼
 */
int measure_calculate_all(void);

/**
 * @brief 獲取指定通道的測量數據
 *
 * @param ch 通道編號
 * @param data 輸出參數
 * @return 0 成功，負值為錯誤碼
 */
int measure_get_channel_data(channel_t ch, channel_data_t *data);

/**
 * @brief 計算三相向量合成
 *
 * 根據 R 相和 T 相的數據合成 S 相
 *
 * @param ch_r R 相通道編號
 * @param ch_t T 相通道編號
 * @param result 輸出三相數據
 * @return 0 成功，負值為錯誤碼
 */
int measure_calculate_three_phase(channel_t ch_r, channel_t ch_t, three_phase_data_t *result);

/**
 * @brief 計算 Ior (抵抗分漏電)
 *
 * 根據 Io、相位角和補正角計算 Ior
 *
 * @param ch 通道編號
 * @param io Io 零相電流 (mA)
 * @param phase_angle 相位角 (度)
 * @param correction 補正角 (phase_correction_t)
 * @param phase_type 相位類型 (單相/三相)
 * @return Ior 值 (mA)
 */
float measure_calculate_ior(channel_t ch, float io, float phase_angle,
                            phase_correction_t correction, phase_type_t phase_type);

/**
 * @brief 執行完整的測量週期
 *
 * 1. 讀取原始數據
 * 2. 計算所有通道
 * 3. 計算三相合成
 * 4. 計算 Ior
 *
 * @return 0 成功，負值為錯誤碼
 */
int measure_perform_cycle(void);

/**
 * @brief 獲取 CH7 (Ig 地絡電流) 數據
 *
 * @param data 輸出參數
 * @return 0 成功，負值為錯誤碼
 */
int measure_get_ig_data(channel_data_t *data);

/**
 * @brief 檢查通道是否超過漏電閥值
 *
 * @param ch 通道編號
 * @param light_threshold 輕漏電閥值 (mA)
 * @param heavy_threshold 重漏電閥值 (mA)
 * @return 0=正常, 1=輕漏電, 2=重漏電
 */
int measure_check_leak_alarm(channel_t ch, uint16_t light_threshold, uint16_t heavy_threshold);

/**
 * @brief 將測電數據格式化並通過 UART30 輸出
 * @param phase_type 單相 (PHASE_SINGLE) 或三相 (PHASE_THREE)
 * @param pulse_count 累積度數 (PULSE 計數)
 * @return 0 成功, <0 錯誤
 */
int measure_send_log_output(phase_type_t phase_type, uint32_t pulse_count);

#endif /* MEASURE_H_ */
```

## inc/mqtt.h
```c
#ifndef MQTT_H
#define MQTT_H

#include <stdint.h>

#ifdef __cplusplus
extern "C"
{
#endif

    // Initialize MQTT module (if needed)
    void mqtt_init(void);

    /**
     * @brief Publish a generic MQTT message following the project format.
     *
     * Topic: kyokuto/[MainID]/[PeriID]/[Code]
     * Payload: \x02[PeriID][Code][Seq][Num][MainID][Data]\x03
     *
     * @param main_id Main Gateway ID (6 chars)
     * @param peri_id Peripheral ID (6 chars)
     * @param code    Command Code (2 chars, e.g. "AD", "PA")
     * @param seq     Sequence Number string (2 chars, e.g. "01")
     * @param num     Device Number string (2 chars, e.g. "02")
     * @param data    Additional data content string (optional, can be NULL or empty)
     * @return 0 on success, negative on error
     */
    int mqtt_publish_generic(const char *main_id, const char *peri_id, const char *code,
                             const char *seq, const char *num, const char *data);

#ifdef __cplusplus
}
#endif

#endif // MQTT_H
```

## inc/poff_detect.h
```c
/**
 * @file poff_detect.h
 * @brief Power-off Detect (停電偵測) 模組
 *
 * 監測系統電壓狀態，在停電時觸發數據保存和警報通報
 */

#ifndef POFF_DETECT_H_
#define POFF_DETECT_H_

#include <stdint.h>
#include <stdbool.h>

#ifdef __cplusplus
extern "C"
{
#endif

    /**
     * @brief 停電處理回調函數類型
     *
     * 在檢測到停電時，會依次調用所有註冊的回調函數
     * 以便各模組保存關鍵數據
     */
    typedef void (*poff_callback_t)(void);

    /**
     * @brief 初始化停電檢測模組
     * @return 0 成功, <0 錯誤
     */
    int poff_detect_init(void);

    /**
     * @brief 註冊停電處理回調函數
     *
     * 各模組可以註冊回調函數，在停電時保存關鍵數據
     *
     * @param callback 回調函數指標
     * @return 0 成功, <0 錯誤
     */
    int poff_detect_register_callback(poff_callback_t callback);

    /**
     * @brief 檢查當前是否處於停電狀態
     * @return true 停電, false 正常供電
     */
    bool poff_detect_is_power_off(void);

#ifdef __cplusplus
}
#endif

#endif /* POFF_DETECT_H_ */
```

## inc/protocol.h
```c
#ifndef PROTOCOL_H
#define PROTOCOL_H

#include <stdint.h>
#include <stddef.h>
#include <stdbool.h>

/* Frame Constants */
#define PROTOCOL_STX 0x02
#define PROTOCOL_ETX 0x03

/* OP Codes - BLE Commands (from APP) */
#define OP_BLE_GET_IOR_INFO 0x66
#define OP_BLE_GET_REALTIME_CURR 0xF6
#define OP_BLE_GET_MAX_CURRENT 0xD8
#define OP_BLE_GET_DEMAND_DATA 0xF9
#define OP_BLE_SET_DEVICE_NAME 0xD5
#define OP_BLE_GET_DEVICE_NAME 0xD6
#define OP_BLE_SET_COMM_DEMAND 0xE5
#define OP_BLE_GET_COMM_DEMAND 0xE6
#define OP_BLE_SET_AI_CONFIG 0xB5
#define OP_BLE_GET_AI_CONFIG 0xB6
#define OP_BLE_SET_MQTT_CONFIG 0xA5
#define OP_BLE_GET_MQTT_CONFIG 0xA6
/* 自訂的 op_code (未在規格書上定義) */
#define OP_BLE_TEST_ECHO 0xF0
#define OP_BLE_TEST_FLASH 0xF1
#define OP_BLE_FS_FAST_FORMAT 0xFA
#define OP_BLE_FS_LOW_LEVEL_FORMAT 0xFB

/* OP Codes - External Communication (to/from nRF9151) */
#define OP_EXT_LOG_OUTPUT 0xC0
#define OP_EXT_MQTT_PUBLISH 0xC1
#define OP_EXT_PUSH_SETTINGS 0xC2
#define OP_EXT_REQUEST_SETTINGS 0xD0
#define OP_EXT_NETWORK_STATUS 0xD1
#define OP_EXT_RTC_SYNC 0xD2

/* Protocol format: [STX][LEN_L][LEN_H][OP][Payload...][ETX][CRC_1][CRC_2] */
/* Header (3) + OP(1) + ETX(1) + CRC(2) = 7 bytes overhead */
#define PROTOCOL_OVERHEAD 7
#define MAX_PAYLOAD_SIZE 240 /* BLE MTU limit buffer */

typedef struct
{
    uint8_t op_code;
    uint8_t *payload;
    uint16_t payload_len;
} protocol_packet_t;

/**
 * @brief Calculate CRC16 for the data
 *
 * @param data Pointer to data
 * @param len Length of data
 * @return uint16_t Calculated CRC
 */
uint16_t protocol_calculate_crc(const uint8_t *data, size_t len);

/**
 * @brief Parse a raw buffer into a protocol packet
 *
 * @param buf Raw buffer received
 * @param len Length of raw buffer
 * @param packet Pointer to packet structure to fill
 * @return int 0 on success, negative on error
 */
int protocol_parse(const uint8_t *buf, size_t len, protocol_packet_t *packet);

/**
 * @brief Compose a frame into a buffer
 *
 * @param op_code Command OP Code
 * @param payload Data payload
 * @param payload_len Length of payload
 * @param out_buf Buffer to store the frame
 * @param out_max Max size of out_buf
 * @return int Total length of frame, or negative on error
 */
int protocol_compose(uint8_t op_code, const uint8_t *payload, uint16_t payload_len, uint8_t *out_buf, size_t out_max);

#endif /* PROTOCOL_H */
```

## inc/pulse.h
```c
/**
 * @file pulse.h
 * @brief Pulse Out (電能度數與需量) 監測模組
 *
 * 實現 P2.08 引腳的脈衝計數功能
 * - 累積脈衝計數 (50,000 pulse/kWh)
 * - 電量累積計算 (kWh)
 * - 需量計算 (現在電力、預測電力)
 */

#ifndef PULSE_H_
#define PULSE_H_

#include <stdint.h>
#include <stdbool.h>

#ifdef __cplusplus
extern "C"
{
#endif

    /**
     * @brief 脈衝計數數據結構
     */
    typedef struct
    {
        uint32_t pulse_count;       /**< 累積脈衝計數 */
        uint32_t pulse_coefficient; /**< 脈衝係數 (Little Endian, 單位: 0.0001 kWh/pulse) */
        float total_kwh;            /**< 累積電量 (kWh) */
        float current_power;        /**< 現在電力 (kW) */
        float predicted_power;      /**< 預測電力 (kW) */
        uint32_t pulse_frequency;   /**< 脈衝頻率 (milli-Hz) */
        uint32_t last_pulse_time;   /**< 上次脈衝時間 (ms) */
    } pulse_data_t;

    /**
     * @brief 初始化脈衝監測模組
     * @return 0 成功, <0 錯誤
     */
    int pulse_init(void);

    /**
     * @brief 獲取當前脈衝計數
     * @return 累積脈衝數
     */
    uint32_t pulse_get_count(void);

    /**
     * @brief 獲取累積電量 (kWh)
     * @return 累積電量
     */
    float pulse_get_kwh(void);

    /**
     * @brief 獲取現在電力 (kW)
     * @return 現在電力
     */
    float pulse_get_current_power(void);

    /**
     * @brief 獲取預測電力 (kW)
     * @return 預測電力
     */
    float pulse_get_predicted_power(void);

    /**
     * @brief 獲取脈衝頻率 (milli-Hz)
     * @return 脈衝頻率
     */
    uint32_t pulse_get_frequency(void);

    /**
     * @brief 設定脈衝係數
     * @param coefficient 脈衝係數 (Little Endian, 例如 0.0012 = 0x0C000000)
     */
    void pulse_set_coefficient(uint32_t coefficient);

    /**
     * @brief 獲取完整的脈衝數據
     * @param data 輸出數據結構指標
     * @return 0 成功, <0 錯誤
     */
    int pulse_get_data(pulse_data_t *data);

    /**
     * @brief 保存脈衝計數到 Flash
     *
     * 在偵測到電壓驟降時調用
     * @return 0 成功, <0 錯誤
     */
    int pulse_save_to_flash(void);

    /**
     * @brief 從 Flash 載入脈衝計數
     *
     * 在系統啟動時調用
     * @return 0 成功, <0 錯誤
     */
    int pulse_load_from_flash(void);

#ifdef __cplusplus
}
#endif

#endif /* PULSE_H_ */
```
